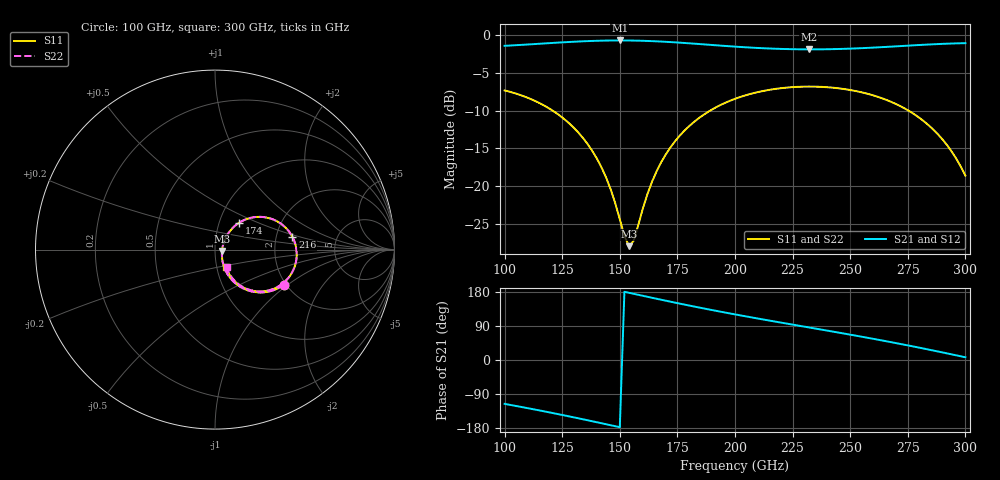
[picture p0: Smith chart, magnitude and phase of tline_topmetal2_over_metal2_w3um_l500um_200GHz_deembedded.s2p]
! Created with skrf 2.2.0 (http://scikit-rf.org).
# GHz S DB R 50.0
! Port[1] = P1
! Port[2] = P2
!freq dBS11 angS11 dBS21 angS21 dBS12 angS12 dBS22 angS22
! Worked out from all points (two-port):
!   101 points, 100 GHz to 300 GHz, reference 50 ohm
!   highest |S21| = -0.70 dB at 150 GHz (marker M1); lowest = -1.9 dB at 232 GHz (marker M2)
!   |S21| within 3 dB of the highest: start of sweep to end of sweep
!   lowest |S11| = -27.9 dB at 154 GHz (marker M3), VSWR 1.08, Z = 54.1 - j0.805 ohm
!   |S11| at or under -10 dB: 120.9 GHz to 189.2 GHz (68.28 GHz wide, 44 % of centre); 275.3 GHz to end of sweep
!   |S22| runs from -28.0 to -6.8 dB; largest |S21 - S12| = 1.4e-13
!   S11 on the Smith chart (normalised r, x): 100 GHz: 1.95, -0.94; 174 GHz: 1.24, +0.38; 216 GHz: 2.47, +0.43; 300 GHz: 1.11, -0.22
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100  -7.31 -27.0  -1.41 -115.8  -1.41 -115.8  -7.31 -27.0
120  -9.82 -47.0  -1.04 -138.9  -1.04 -138.9  -9.83 -47.1
134  -13.60 -59.7  -0.81 -156.4  -0.81 -156.4  -13.61 -59.8
140  -16.31 -62.9  -0.74 -164.2  -0.74 -164.2  -16.32 -63.1
144  -18.81 -62.7  -0.71 -169.4  -0.71 -169.4  -18.83 -62.9
150  -24.37 -49.2  -0.70 -177.4  -0.70 -177.4  -24.42 -49.6
152  -26.58 -34.6  -0.70 180.0  -0.70 180.0  -26.67 -34.9
154  -27.94 -10.7  -0.70 177.3  -0.70 177.3  -28.05 -10.6
156  -27.22 15.4  -0.71 174.7  -0.71 174.7  -27.31 15.7
162  -21.03 47.7  -0.76 166.8  -0.76 166.8  -21.05 48.0
168  -16.81 51.0  -0.84 159.0  -0.84 159.0  -16.81 51.2
174  -14.03 48.2  -0.95 151.3  -0.95 151.3  -14.04 48.4
186  -10.62 38.1  -1.20 136.6  -1.20 136.6  -10.62 38.2
200  -8.43 24.7  -1.51 120.4  -1.51 120.4  -8.43 24.7
216  -7.18 9.2  -1.77 102.9  -1.77 102.9  -7.19 9.3
232  -6.80 -5.9  -1.88 86.0  -1.88 86.0  -6.81 -5.8
234  -6.81 -7.8  -1.88 83.9  -1.88 83.9  -6.81 -7.7
252  -7.37 -24.8  -1.75 64.7  -1.75 64.7  -7.37 -24.7
268  -8.85 -40.1  -1.51 46.8  -1.51 46.8  -8.86 -39.8
286  -12.48 -55.7  -1.20 25.1  -1.20 25.1  -12.48 -55.3
294  -15.39 -59.8  -1.10 14.9  -1.10 14.9  -15.37 -59.1
300  -18.60 -58.1  -1.06 7.2  -1.06 7.2  -18.55 -57.1
